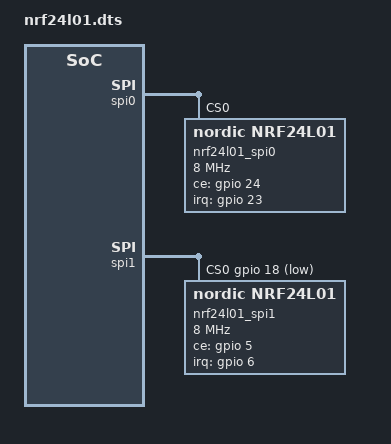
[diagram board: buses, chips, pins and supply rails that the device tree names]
/dts-v1/;
/plugin/;

&spidev0 { status = "disabled"; };
&spidev1 { status = "disabled"; };

&spi0 {
	#address-cells = <1>;
	#size-cells = <0>;
	status = "okay";
	
	// cs-gpios = <&gpio 8 1>;

	nrf24l01_spi0: nrf24l01@0 {
		status = "okay";
		compatible = "nordic,nrf24l01";
		model = "nrf_garden";

		// only one cs pin 
		reg = <0>;
		
		interrupt-parent = <&gpio>;
		interrupts = <23 2>;
		spi-max-frequency = <8000000>;
		ce-gpios = <&gpio 24 0>;
	};
};

&gpio {
	spi1_pins_overlay: spi1_pins_overlay {
		brcm,pins = <19 20 21>;
		brcm,function = <3>;
		brcm,pull = <2 0 0>;
	};
	spi1_cs_overlay: spi1_cs_overlay {
		
		// only one cs pin
		brcm,pins = <18>;
		brcm,function = <1>;
		brcm,pull = <0>;
	};
};

&spi1 {
	#address-cells = <1>;
	#size-cells = <0>;
	status = "okay";
	
	cs-gpios = <&gpio 18 1>;
	
	pinctrl-names = "default";
	pinctrl-0 = <&spi1_pins_overlay &spi1_cs_overlay>;

	nrf24l01_spi1: nrf24l01@0 {
		status = "okay";
		compatible = "nordic,nrf24l01";
		model = "nrf_garage";
		reg = <0>;
		interrupt-parent = <&gpio>;
		interrupts = <6 2>;
		spi-max-frequency = <8000000>;
		ce-gpios = <&gpio 5 0>;
	};
};
